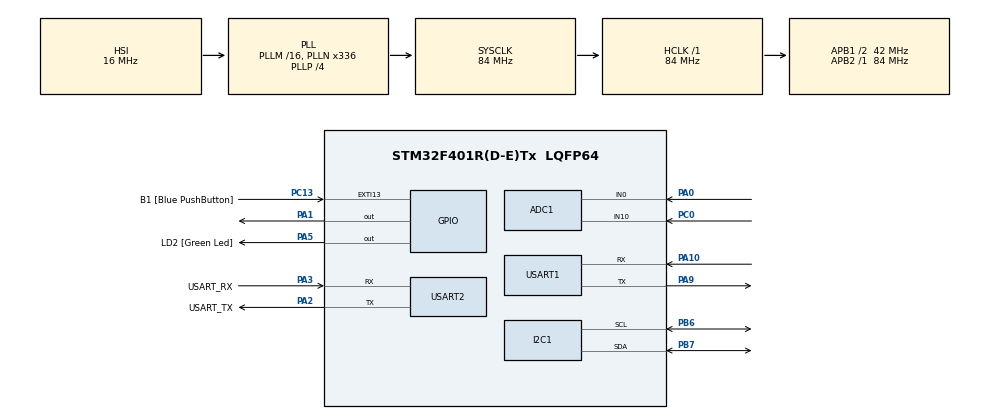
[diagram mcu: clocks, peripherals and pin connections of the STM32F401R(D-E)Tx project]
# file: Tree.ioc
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ADC1.Channel-0\#ChannelRegularConversion=ADC_CHANNEL_0
ADC1.Channel-1\#ChannelRegularConversion=ADC_CHANNEL_10
ADC1.ContinuousConvMode=ENABLE
ADC1.DMAContinuousRequests=ENABLE
ADC1.EOCSelection=ADC_EOC_SINGLE_CONV
ADC1.NbrOfConversion=2
ADC1.NbrOfConversionFlag=1
ADC1.Rank-0\#ChannelRegularConversion=1
ADC1.Rank-1\#ChannelRegularConversion=2
ADC1.SamplingTime-0\#ChannelRegularConversion=ADC_SAMPLETIME_3CYCLES
ADC1.SamplingTime-1\#ChannelRegularConversion=ADC_SAMPLETIME_3CYCLES
ADC1.master=1
Dma.ADC1.0.Direction=DMA_PERIPH_TO_MEMORY
Dma.ADC1.0.FIFOMode=DMA_FIFOMODE_DISABLE
Dma.ADC1.0.Instance=DMA2_Stream0
Dma.ADC1.0.MemDataAlignment=DMA_MDATAALIGN_WORD
Dma.ADC1.0.MemInc=DMA_MINC_ENABLE
Dma.ADC1.0.Mode=DMA_CIRCULAR
Dma.ADC1.0.PeriphDataAlignment=DMA_PDATAALIGN_WORD
Dma.ADC1.0.PeriphInc=DMA_PINC_DISABLE
Dma.ADC1.0.Priority=DMA_PRIORITY_LOW
Dma.Request0=ADC1
Mcu.Family=STM32F4
Mcu.Name=STM32F401R(D-E)Tx
Mcu.Package=LQFP64
NVIC.DMA2_Stream0_IRQn=true\:0\:0\:false\:false\:true\:false\:true\:true
NVIC.PriorityGroup=NVIC_PRIORITYGROUP_4
PA0-WKUP.Signal=ADCx_IN0
PA1.Signal=GPIO_Output
PA10.Mode=Asynchronous
PA10.Signal=USART1_RX
PA13.GPIO_Label=TMS
PA13.Mode=Serial_Wire
PA13.Signal=SYS_JTMS-SWDIO
PA14.GPIO_Label=TCK
PA14.Mode=Serial_Wire
PA14.Signal=SYS_JTCK-SWCLK
PA2.GPIO_Label=USART_TX
PA2.GPIO_Mode=GPIO_MODE_AF_PP
PA2.GPIO_PuPd=GPIO_NOPULL
PA2.GPIO_Speed=GPIO_SPEED_FREQ_LOW
PA2.Mode=Asynchronous
PA2.Signal=USART2_TX
PA3.GPIO_Label=USART_RX
PA3.GPIO_Mode=GPIO_MODE_AF_PP
PA3.GPIO_PuPd=GPIO_NOPULL
PA3.GPIO_Speed=GPIO_SPEED_FREQ_LOW
PA3.Mode=Asynchronous
PA3.Signal=USART2_RX
PA5.GPIO_Label=LD2 [Green Led]
PA5.GPIO_Mode=GPIO_MODE_OUTPUT_PP
PA5.GPIO_PuPd=GPIO_NOPULL
PA5.GPIO_Speed=GPIO_SPEED_FREQ_LOW
PA5.Signal=GPIO_Output
PA9.Mode=Asynchronous
PA9.Signal=USART1_TX
PB3.GPIO_Label=SWO
PB3.Signal=SYS_JTDO-SWO
PB6.Mode=I2C
PB6.Signal=I2C1_SCL
PB7.Mode=I2C
PB7.Signal=I2C1_SDA
PC0.Signal=ADCx_IN10
PC13-ANTI_TAMP.GPIO_Label=B1 [Blue PushButton]
PC13-ANTI_TAMP.GPIO_ModeDefaultEXTI=GPIO_MODE_IT_FALLING
PC13-ANTI_TAMP.GPIO_PuPd=GPIO_NOPULL
PC13-ANTI_TAMP.Signal=GPXTI13
PC14-OSC32_IN.Mode=LSE-External-Oscillator
PC14-OSC32_IN.Signal=RCC_OSC32_IN
PC15-OSC32_OUT.Mode=LSE-External-Oscillator
PC15-OSC32_OUT.Signal=RCC_OSC32_OUT
PH0\ -\ OSC_IN.Mode=HSE-External-Clock-Source
PH0\ -\ OSC_IN.Signal=RCC_OSC_IN
PH1\ -\ OSC_OUT.Mode=HSE-External-Clock-Source
PH1\ -\ OSC_OUT.Signal=RCC_OSC_OUT
ProjectManager.HeapSize=0x200
ProjectManager.StackSize=0x400
ProjectManager.TargetToolchain=STM32CubeIDE
RCC.48MHZClocksFreq_Value=48000000
RCC.AHBFreq_Value=84000000
RCC.APB1CLKDivider=RCC_HCLK_DIV2
RCC.APB1Freq_Value=42000000
RCC.APB1TimFreq_Value=84000000
RCC.APB2Freq_Value=84000000
RCC.APB2TimFreq_Value=84000000
RCC.CortexFreq_Value=84000000
RCC.HCLKFreq_Value=84000000
RCC.HSE_VALUE=8000000
RCC.HSI_VALUE=16000000
RCC.PLLN=336
RCC.PLLP=RCC_PLLP_DIV4
RCC.PLLQ=7
RCC.SYSCLKFreq_VALUE=84000000
RCC.SYSCLKSource=RCC_SYSCLKSOURCE_PLLCLK
RCC.VCOOutputFreq_Value=336000000
SH.ADCx_IN0.0=ADC1_IN0,IN0
SH.ADCx_IN10.0=ADC1_IN10,IN10
USART1.VirtualMode=VM_ASYNC
USART2.VirtualMode=VM_ASYNC
board=NUCLEO-F401RE

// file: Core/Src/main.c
/* USER CODE BEGIN Header */
/**
  ******************************************************************************
  * @file           : main.c
  * @brief          : Main program body
  ******************************************************************************
  * @attention
  *
  * Copyright (c) 2025 STMicroelectronics.
  * All rights reserved.
  *
  * This software is licensed under terms that can be found in the LICENSE file
  * in the root directory of this software component.
  * If no LICENSE file comes with this software, it is provided AS-IS.
  *
  ******************************************************************************
  */
/* USER CODE END Header */
#include "main.h"

/* USER CODE BEGIN Includes */
#include <stdio.h>
#include <string.h>
/* USER CODE END Includes */

ADC_HandleTypeDef hadc1;
DMA_HandleTypeDef hdma_adc1;

I2C_HandleTypeDef hi2c1;

UART_HandleTypeDef huart1;
UART_HandleTypeDef huart2;

/* USER CODE BEGIN PV */
uint32_t soilValue = 0;
uint32_t waterValue = 0;

char waterMsg[50];
char soilMsg[50];
char espMsg[100];

double percentage;
int threshold = 30; // water level threshold to buzz: below 30%
const int soilRange = 3900-1300;
float startPump = soilRange * 0.6 + 1300; // moisture level threshold to light on(start pump): below 40%
float stopPump = soilRange * 0.2 + 1300; // moisture level threshold to light off(start pump): above 80%
uint32_t adcValue[2];

double mapWaterLevel(uint32_t x)
{
    // ADC breakpoints
    const double in[9]  = {600, 1400, 2000, 2050, 2100, 2125, 2190, 2200, 2250};
    const double out[9] = {0,   12.5, 25,   37.5, 50,   62.5, 75,   87.5, 100};

    // out of range case
    if (x <= in[0]) return out[0];
    if (x >= in[8]) return out[8];

    // cal percent
    for (int i = 0; i < 8; i++) {
        if (x >= in[i] && x <= in[i+1]) {
            double ratio = (double)(x - in[i]) / (in[i+1] - in[i]);
            return out[i] + ratio * (out[i+1] - out[i]);
        }
    }

    return 0;
}
/* USER CODE END PV */

void SystemClock_Config(void);
static void MX_GPIO_Init(void);
static void MX_DMA_Init(void);
static void MX_USART2_UART_Init(void);
static void MX_ADC1_Init(void);
static void MX_I2C1_Init(void);
static void MX_USART1_UART_Init(void);

int main(void)
{

  /* MCU Configuration--------------------------------------------------------*/

  /* Reset of all peripherals, Initializes the Flash interface and the Systick. */
  HAL_Init();

  /* Configure the system clock */
  SystemClock_Config();

  /* Initialize all configured peripherals */
  MX_GPIO_Init();
  MX_DMA_Init();
  MX_USART2_UART_Init();
  MX_ADC1_Init();
  MX_I2C1_Init();
  MX_USART1_UART_Init();
  /* USER CODE BEGIN 2 */
  HAL_GPIO_WritePin(GPIOA, GPIO_PIN_1, GPIO_PIN_SET);
  HAL_ADC_Start_DMA(&hadc1, adcValue, 2);
  HAL_NVIC_DisableIRQ(DMA2_Stream0_IRQn);
  /* USER CODE END 2 */

  /* Infinite loop */
  /* USER CODE BEGIN WHILE */
  while (1)
  {
	  soilValue = adcValue[0]; //PA0 soil 0-4095 0=wet 4095=dry
	  sprintf(soilMsg, "soil: %ld\r\n", soilValue);
	  HAL_UART_Transmit(&huart2, (uint8_t*)soilMsg, strlen(soilMsg), HAL_MAX_DELAY);

	  waterValue = adcValue[1]; //PC0 water level
	  percentage = mapWaterLevel(waterValue);
	  int pctInt = (int)(percentage * 10) / 10;
	  int pctDec = (int)(percentage * 10) % 10;
	  sprintf(waterMsg, "water: %ld | percent: %d.%d%%\r\n", waterValue, pctInt, pctDec);
	  HAL_UART_Transmit(&huart2, (uint8_t*)waterMsg, strlen(waterMsg), HAL_MAX_DELAY);

	  int espSoilValue = (int)soilValue;
	  int espWaterValue = (int)waterValue;
	  sprintf(espMsg, "S%dW%dP%d.%dE\r\n", espSoilValue, espWaterValue, pctInt, pctDec);
	  HAL_UART_Transmit(&huart1, (uint8_t *)espMsg, strlen(espMsg), HAL_MAX_DELAY);
	  HAL_UART_Transmit(&huart2, (uint8_t *)espMsg, strlen(espMsg), HAL_MAX_DELAY);

	  if (percentage < threshold) {
		  HAL_GPIO_WritePin(GPIOA, GPIO_PIN_1, GPIO_PIN_SET);  // buzzer ON
	  } else {
		  HAL_GPIO_WritePin(GPIOA, GPIO_PIN_1, GPIO_PIN_RESET); // buzzer OFF
	  }

	  if (soilValue > startPump) {
		  HAL_GPIO_WritePin(GPIOA, GPIO_PIN_5, GPIO_PIN_SET);  // light ON
	  } else if (soilValue < stopPump)  {
		  HAL_GPIO_WritePin(GPIOA, GPIO_PIN_5, GPIO_PIN_RESET); // light OFF
	  }

	  HAL_Delay(1000);
    /* USER CODE END WHILE */

  }
}

void SystemClock_Config(void)
{
  RCC_OscInitTypeDef RCC_OscInitStruct = {0};
  RCC_ClkInitTypeDef RCC_ClkInitStruct = {0};

  /** Configure the main internal regulator output voltage
  */
  __HAL_RCC_PWR_CLK_ENABLE();
  __HAL_PWR_VOLTAGESCALING_CONFIG(PWR_REGULATOR_VOLTAGE_SCALE2);

  /** Initializes the RCC Oscillators according to the specified parameters
  * in the RCC_OscInitTypeDef structure.
  */
  RCC_OscInitStruct.OscillatorType = RCC_OSCILLATORTYPE_HSI;
  RCC_OscInitStruct.HSIState = RCC_HSI_ON;
  RCC_OscInitStruct.HSICalibrationValue = RCC_HSICALIBRATION_DEFAULT;
  RCC_OscInitStruct.PLL.PLLState = RCC_PLL_ON;
  RCC_OscInitStruct.PLL.PLLSource = RCC_PLLSOURCE_HSI;
  RCC_OscInitStruct.PLL.PLLM = 16;
  RCC_OscInitStruct.PLL.PLLN = 336;
  RCC_OscInitStruct.PLL.PLLP = RCC_PLLP_DIV4;
  RCC_OscInitStruct.PLL.PLLQ = 7;
  if (HAL_RCC_OscConfig(&RCC_OscInitStruct) != HAL_OK)
  {
    Error_Handler();
  }

  /** Initializes the CPU, AHB and APB buses clocks
  */
  RCC_ClkInitStruct.ClockType = RCC_CLOCKTYPE_HCLK|RCC_CLOCKTYPE_SYSCLK
                              |RCC_CLOCKTYPE_PCLK1|RCC_CLOCKTYPE_PCLK2;
  RCC_ClkInitStruct.SYSCLKSource = RCC_SYSCLKSOURCE_PLLCLK;
  RCC_ClkInitStruct.AHBCLKDivider = RCC_SYSCLK_DIV1;
  RCC_ClkInitStruct.APB1CLKDivider = RCC_HCLK_DIV2;
  RCC_ClkInitStruct.APB2CLKDivider = RCC_HCLK_DIV1;

  if (HAL_RCC_ClockConfig(&RCC_ClkInitStruct, FLASH_LATENCY_2) != HAL_OK)
  {
    Error_Handler();
  }
}

static void MX_ADC1_Init(void)
{

  ADC_ChannelConfTypeDef sConfig = {0};

  /** Configure the global features of the ADC (Clock, Resolution, Data Alignment and number of conversion)
  */
  hadc1.Instance = ADC1;
  hadc1.Init.ClockPrescaler = ADC_CLOCK_SYNC_PCLK_DIV4;
  hadc1.Init.Resolution = ADC_RESOLUTION_12B;
  hadc1.Init.ScanConvMode = ENABLE;
  hadc1.Init.ContinuousConvMode = ENABLE;
  hadc1.Init.DiscontinuousConvMode = DISABLE;
  hadc1.Init.ExternalTrigConvEdge = ADC_EXTERNALTRIGCONVEDGE_NONE;
  hadc1.Init.ExternalTrigConv = ADC_SOFTWARE_START;
  hadc1.Init.DataAlign = ADC_DATAALIGN_RIGHT;
  hadc1.Init.NbrOfConversion = 2;
  hadc1.Init.DMAContinuousRequests = ENABLE;
  hadc1.Init.EOCSelection = ADC_EOC_SINGLE_CONV;
  if (HAL_ADC_Init(&hadc1) != HAL_OK)
  {
    Error_Handler();
  }

  /** Configure for the selected ADC regular channel its corresponding rank in the sequencer and its sample time.
  */
  sConfig.Channel = ADC_CHANNEL_0;
  sConfig.Rank = 1;
  sConfig.SamplingTime = ADC_SAMPLETIME_3CYCLES;
  if (HAL_ADC_ConfigChannel(&hadc1, &sConfig) != HAL_OK)
  {
    Error_Handler();
  }

  /** Configure for the selected ADC regular channel its corresponding rank in the sequencer and its sample time.
  */
  sConfig.Channel = ADC_CHANNEL_10;
  sConfig.Rank = 2;
  if (HAL_ADC_ConfigChannel(&hadc1, &sConfig) != HAL_OK)
  {
    Error_Handler();
  }

}

static void MX_I2C1_Init(void)
{

  hi2c1.Instance = I2C1;
  hi2c1.Init.ClockSpeed = 100000;
  hi2c1.Init.DutyCycle = I2C_DUTYCYCLE_2;
  hi2c1.Init.OwnAddress1 = 0;
  hi2c1.Init.AddressingMode = I2C_ADDRESSINGMODE_7BIT;
  hi2c1.Init.DualAddressMode = I2C_DUALADDRESS_DISABLE;
  hi2c1.Init.OwnAddress2 = 0;
  hi2c1.Init.GeneralCallMode = I2C_GENERALCALL_DISABLE;
  hi2c1.Init.NoStretchMode = I2C_NOSTRETCH_DISABLE;
  if (HAL_I2C_Init(&hi2c1) != HAL_OK)
  {
    Error_Handler();
  }

}

static void MX_USART1_UART_Init(void)
{

  huart1.Instance = USART1;
  huart1.Init.BaudRate = 115200;
  huart1.Init.WordLength = UART_WORDLENGTH_8B;
  huart1.Init.StopBits = UART_STOPBITS_1;
  huart1.Init.Parity = UART_PARITY_NONE;
  huart1.Init.Mode = UART_MODE_TX_RX;
  huart1.Init.HwFlowCtl = UART_HWCONTROL_NONE;
  huart1.Init.OverSampling = UART_OVERSAMPLING_16;
  if (HAL_UART_Init(&huart1) != HAL_OK)
  {
    Error_Handler();
  }

}

static void MX_USART2_UART_Init(void)
{

  huart2.Instance = USART2;
  huart2.Init.BaudRate = 115200;
  huart2.Init.WordLength = UART_WORDLENGTH_8B;
  huart2.Init.StopBits = UART_STOPBITS_1;
  huart2.Init.Parity = UART_PARITY_NONE;
  huart2.Init.Mode = UART_MODE_TX_RX;
  huart2.Init.HwFlowCtl = UART_HWCONTROL_NONE;
  huart2.Init.OverSampling = UART_OVERSAMPLING_16;
  if (HAL_UART_Init(&huart2) != HAL_OK)
  {
    Error_Handler();
  }

}

static void MX_DMA_Init(void)
{

  /* DMA controller clock enable */
  __HAL_RCC_DMA2_CLK_ENABLE();

  /* DMA interrupt init */
  /* DMA2_Stream0_IRQn interrupt configuration */
  HAL_NVIC_SetPriority(DMA2_Stream0_IRQn, 0, 0);
  HAL_NVIC_EnableIRQ(DMA2_Stream0_IRQn);

}

static void MX_GPIO_Init(void)
{
  GPIO_InitTypeDef GPIO_InitStruct = {0};

  /* GPIO Ports Clock Enable */
  __HAL_RCC_GPIOC_CLK_ENABLE();
  __HAL_RCC_GPIOH_CLK_ENABLE();
  __HAL_RCC_GPIOA_CLK_ENABLE();
  __HAL_RCC_GPIOB_CLK_ENABLE();

  /*Configure GPIO pin Output Level */
  HAL_GPIO_WritePin(GPIOA, GPIO_PIN_1|LD2_Pin, GPIO_PIN_RESET);

  /*Configure GPIO pin : B1_Pin */
  GPIO_InitStruct.Pin = B1_Pin;
  GPIO_InitStruct.Mode = GPIO_MODE_IT_FALLING;
  GPIO_InitStruct.Pull = GPIO_NOPULL;
  HAL_GPIO_Init(B1_GPIO_Port, &GPIO_InitStruct);

  /*Configure GPIO pins : PA1 LD2_Pin */
  GPIO_InitStruct.Pin = GPIO_PIN_1|LD2_Pin;
  GPIO_InitStruct.Mode = GPIO_MODE_OUTPUT_PP;
  GPIO_InitStruct.Pull = GPIO_NOPULL;
  GPIO_InitStruct.Speed = GPIO_SPEED_FREQ_LOW;
  HAL_GPIO_Init(GPIOA, &GPIO_InitStruct);

}

void Error_Handler(void)
{
  __disable_irq();
  while (1)
  {
  }
}
